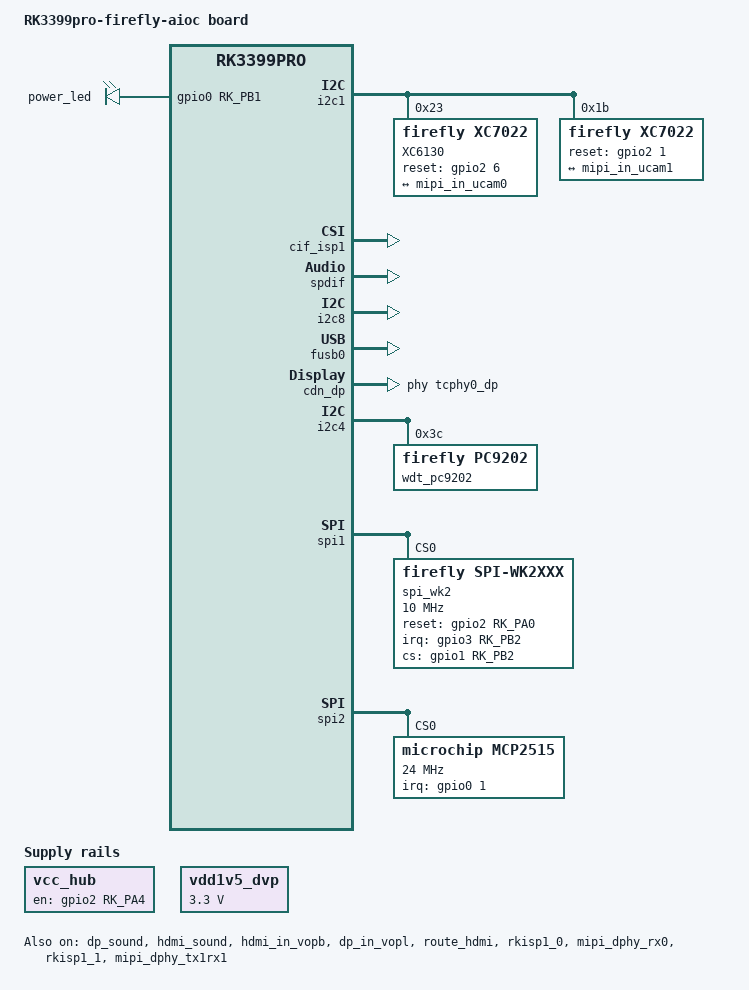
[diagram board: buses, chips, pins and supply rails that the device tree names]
/*
 * Copyright (c) 2016 Fuzhou Rockchip Electronics Co., Ltd
 *
 * This file is dual-licensed: you can use it either under the terms
 * of the GPL or the X11 license, at your option. Note that this dual
 * licensing only applies to this file, and not this project as a
 * whole.
 *
 *  a) This file is free software; you can redistribute it and/or
 *     modify it under the terms of the GNU General Public License as
 *     published by the Free Software Foundation; either version 2 of the
 *     License, or (at your option) any later version.
 *
 *     This file is distributed in the hope that it will be useful,
 *     but WITHOUT ANY WARRANTY; without even the implied warranty of
 *     MERCHANTABILITY or FITNESS FOR A PARTICULAR PURPOSE.  See the
 *     GNU General Public License for more details.
 *
 * Or, alternatively,
 *
 *  b) Permission is hereby granted, free of charge, to any person
 *     obtaining a copy of this software and associated documentation
 *     files (the "Software"), to deal in the Software without
 *     restriction, including without limitation the rights to use,
 *     copy, modify, merge, publish, distribute, sublicense, and/or
 *     sell copies of the Software, and to permit persons to whom the
 *     Software is furnished to do so, subject to the following
 *     conditions:
 *
 *     The above copyright notice and this permission notice shall be
 *     included in all copies or substantial portions of the Software.
 *
 *     THE SOFTWARE IS PROVIDED "AS IS", WITHOUT WARRANTY OF ANY KIND,
 *     EXPRESS OR IMPLIED, INCLUDING BUT NOT LIMITED TO THE WARRANTIES
 *     OF MERCHANTABILITY, FITNESS FOR A PARTICULAR PURPOSE AND
 *     NONINFRINGEMENT. IN NO EVENT SHALL THE AUTHORS OR COPYRIGHT
 *     HOLDERS BE LIABLE FOR ANY CLAIM, DAMAGES OR OTHER LIABILITY,
 *     WHETHER IN AN ACTION OF CONTRACT, TORT OR OTHERWISE, ARISING
 *     FROM, OUT OF OR IN CONNECTION WITH THE SOFTWARE OR THE USE OR
 *     OTHER DEALINGS IN THE SOFTWARE.
 */

/dts-v1/;
#include "rk3399pro-firefly-port.dtsi"
#include "rk3399pro-firefly-pcie.dtsi"

/ {
	model = "RK3399pro-firefly-aioc board";
	compatible = "rockchip,rk3399pro-firefly-aioc", "rockchip,rk3399pro";

	usbacm_video_control: usbacm-video-control {
		compatible = "rockchip,usbacm-video-control";
		status = "disabled";
	};

	/delete-node/ vcc5v0-typec;
	mcp251x_clk: mcp251x-clk {
        	compatible = "fixed-clock";
        	#clock-cells = <0>;
        	clock-frequency = <8000000>;        //MCP2515_CAN模块的晶振为8MHz
        };

        vcc_hub: vcc-hub-regulator {
                compatible = "regulator-fixed";
                enable-active-high;
                regulator-always-on;
                regulator-boot-on;
                gpio = <&gpio2 RK_PA4 GPIO_ACTIVE_HIGH>;
                pinctrl-names = "default";
                pinctrl-0 = <&hub_drv>;
                regulator-name = "vcc_hub";
        };

};


&i2c1 {
	status = "okay";
	i2c-scl-rising-time-ns = <300>;
	i2c-scl-falling-time-ns = <15>;

	/delete-node/ ov13850@36;
	/delete-node/ ov13850@46;

	//cam0
	XC6130: XC6130@46{
		status = "okay";
		compatible = "firefly,xc7022";
		reg = <0x23>;
		reset-gpios = <&gpio2 6 GPIO_ACTIVE_HIGH>;
		pinctrl-names = "default";
		pinctrl-0 = <&xc6130_reset_pin>;

		port {
			ucam_out0: endpoint {
				remote-endpoint = <&mipi_in_ucam0>;
				data-lanes = <1 2>;
			};
		};
	};

	//cam1
	XC7022: XC7022@36{
		status = "okay";
		compatible = "firefly,xc7022";
		reg = <0x1b>;
		reset-gpios = <&gpio2 1 GPIO_ACTIVE_HIGH>;
		pinctrl-names = "default";
		pinctrl-0 = <&xc7022_reset_pin>;

		port {
			ucam_out1: endpoint {
				remote-endpoint = <&mipi_in_ucam1>;
				data-lanes = <1 2>;
			};
		};
	};


};


&cif_isp1 {
    status = "okay";
};

&dp_sound {
	status = "okay";
};

&hdmi_sound {
	status = "okay";
};

&spdif {
       status = "okay";
};

&hdmi_in_vopl {
	status = "disabled";
};

&hdmi_in_vopb {
	status = "okay";
};

&dp_in_vopb {
	status = "disabled";
};

&dp_in_vopl {
	status = "okay";
};

&route_hdmi {
        status = "okay";
        logo,mode = "center";
};

&vopb {
    assigned-clocks = <&cru DCLK_VOP0_DIV>;
    assigned-clock-parents = <&cru PLL_VPLL>;
};
&vopl {
    assigned-clocks = <&cru DCLK_VOP1_DIV>;
    assigned-clock-parents = <&cru PLL_CPLL>;
};

// DP
&i2c8 {
	status = "okay";
};

&fusb0 {
	status = "okay";
};

&vcc5v0_host {
       gpio = <&gpio2 RK_PA2 GPIO_ACTIVE_HIGH>;
};

&cdn_dp {
        status = "okay";
        extcon = <&fusb0>;
        phys = <&tcphy0_dp>;
};

// mipi csi
/*
&ov13850 {
	status = "disabled";
};

&ov13850_1 {
	status = "disabled";
};
*/

&vcc_mipi {
	status = "disabled";
};

&dvdd_1v2 {
	status = "disabled";
};

&rkisp1_0 {
	status = "okay";
};

&mipi_dphy_rx0 {
	status = "okay";
};

&isp0_mmu {
	status = "okay";
};

&rkisp1_1 {
	status = "okay";
};

&mipi_dphy_tx1rx1 {
	status = "okay";
};

&isp1_mmu {
	status = "okay";
};

&i2c4 {
	status = "okay";
	i2c-scl-rising-time-ns = <345>;
	i2c-scl-falling-time-ns = <11>;

};


// LED
&power_led {
	gpios = <&gpio0 RK_PB1 GPIO_ACTIVE_HIGH>;
};

&led_power {
        rockchip,pins = <0 RK_PB1 RK_FUNC_GPIO &pcfg_pull_none>;
};


&pcie0 {
	/delete-property/ gpio;
};

&vcc3v3_3g {
	gpio = <&gpio3 RK_PD6 GPIO_ACTIVE_HIGH>;
};

&pcie_3g_drv {
	rockchip,pins =<3 RK_PD6 RK_FUNC_GPIO &pcfg_pull_up>;
};



/* spi to uart */
&uart4 {
    status = "disabled";
};

&spi1 {
        status = "okay";
	max-freq = <48000000>;
	dev-port = <0>;
	spi_wk2@00{
        	status = "okay";
        	compatible = "firefly,spi-wk2xxx";
        	reg = <0x00>;
        	spi-max-frequency = <10000000>;
        	reset-gpio = <&gpio2 RK_PA0 GPIO_ACTIVE_HIGH>;
        	irq-gpio = <&gpio3 RK_PB2 IRQ_TYPE_EDGE_FALLING>;
        	cs-gpio = <&gpio1 RK_PB2 GPIO_ACTIVE_HIGH>;
	};
};

&spi2 {
        status = "okay";
	spi_wk2xxx@00{
		status = "disabled";
	};
	mcp2515: can@00 {
		status = "okay";
		compatible = "microchip,mcp2515";
		reg = <0x00>;
		clocks = <&mcp251x_clk>;
		interrupt-parent = <&gpio0>;
		interrupts = <1 IRQ_TYPE_EDGE_FALLING>;
		spi-max-frequency = <24000000>;
		pinctrl-names = "default";
		pinctrl-0 = <&can0_pins>;
		poll_mode = <0>;
		enable_dma = <1>;
	};
};

&rk809_codec {
	hp-det = <&gpio0 RK_PB5 GPIO_ACTIVE_HIGH>;
	spk-ctl = <&gpio2 RK_PA5 GPIO_ACTIVE_HIGH>;
	hp-ctl-gpios = <&gpio3 RK_PD7 GPIO_ACTIVE_HIGH>;
	io-channels = <0>;
};

&spk_ctl_gpio {
	rockchip,pins = <2 RK_PA5 RK_FUNC_GPIO &pcfg_pull_up_20ma>;
};


&vdd1v5_dvp {
	regulator-min-microvolt = <3300000>;
	regulator-max-microvolt = <3300000>;
};

&i2c4 {
	status = "okay";

    wdt_pc9202: wdt-pc9202@3c {
        status = "okay";
        compatible = "firefly,pc9202";
        reg = <0x3c>;
    };
};

&pinctrl {
	hub {
			hub_drv: hub-drv {
		rockchip,pins =
			<2 RK_PA4 RK_FUNC_GPIO &pcfg_pull_up>;
			};
	};

	can0 {
			can0_pins: can0-pins {
		rockchip,pins =
			<0 RK_PA1 RK_FUNC_GPIO &pcfg_pull_none>;
			};
	};
	usb2 {
			host_vbus_drv: host-vbus-drv {
					rockchip,pins =
							<2 RK_PA2 RK_FUNC_GPIO &pcfg_pull_none>;
			};
	};

	camera-pins{
		xc7022_reset_pin: xc7022-reset-pin{
			rockchip,pins = <2 1 RK_FUNC_GPIO &pcfg_pull_none>;
		};

		xc6130_reset_pin: xc6130-reset-pin{
			rockchip,pins = <2 6 RK_FUNC_GPIO &pcfg_pull_none>;
		};
	};
};
